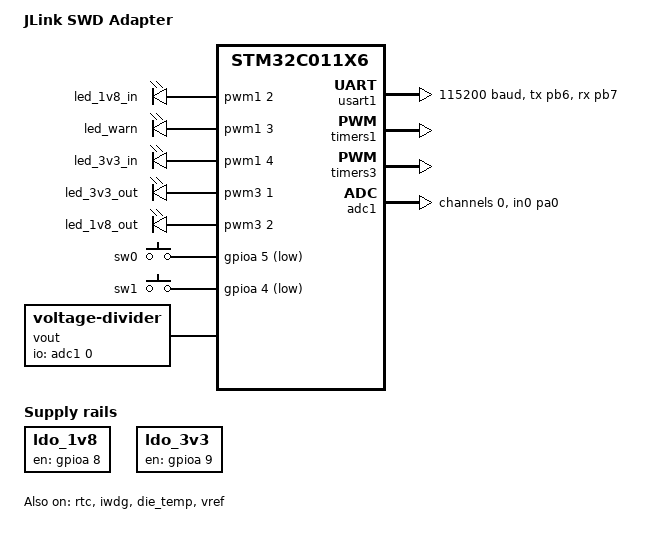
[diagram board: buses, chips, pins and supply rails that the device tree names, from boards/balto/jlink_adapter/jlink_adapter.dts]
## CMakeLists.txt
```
set(BOARD_ROOT ${CMAKE_CURRENT_LIST_DIR})
set(BOARD jlink_adapter)

cmake_minimum_required(VERSION 3.20.0)
find_package(Zephyr REQUIRED HINTS $ENV{ZEPHYR_BASE})
project(jlink_adapter)

target_sources(app PRIVATE
	src/main.c
	src/print_stack.c
)
```

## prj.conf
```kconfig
CONFIG_DEBUG_THREAD_INFO=y
CONFIG_INIT_STACKS=y
CONFIG_THREAD_STACK_INFO=y
CONFIG_THREAD_ANALYZER=y

CONFIG_GPIO=y
CONFIG_LOG=y
CONFIG_LOG_MODE_MINIMAL=y
CONFIG_PWM=y
CONFIG_INPUT=y
CONFIG_INPUT_EVENT_DUMP=n
CONFIG_INPUT_MODE_SYNCHRONOUS=y
CONFIG_LED=y
CONFIG_ADC=y
CONFIG_REGULATOR=y

CONFIG_SEGGER_RTT_BUFFER_SIZE_UP=512
CONFIG_ISR_STACK_SIZE=512
CONFIG_MAIN_STACK_SIZE=1024
CONFIG_IDLE_STACK_SIZE=128
```

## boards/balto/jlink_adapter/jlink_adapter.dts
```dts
/dts-v1/;
#include <st/c0/stm32c011X6.dtsi>
#include <st/c0/stm32c011f(4-6)ux-pinctrl.dtsi>
#include <zephyr/dt-bindings/input/input-event-codes.h>

/ {
	model = "JLink SWD Adapter";
	compatible = "balto,jlink-adapter";

	chosen {
		zephyr,console = &usart1;
		zephyr,shell-uart = &usart1;
		zephyr,sram = &sram0;
		zephyr,flash = &flash0;
	};

	leds: pwmleds {
		compatible = "pwm-leds";

		led_1v8_in: led_0 {
			pwms = <&pwm1 2 PWM_HZ(200) PWM_POLARITY_NORMAL>;
		};
		led_warn: led_1 {
			pwms = <&pwm1 3 PWM_HZ(200) PWM_POLARITY_NORMAL>;
		};
		led_3v3_in: led_2 {
			pwms = <&pwm1 4 PWM_HZ(200) PWM_POLARITY_NORMAL>;
		};
		led_3v3_out: led_3 {
			pwms = <&pwm3 1 PWM_HZ(200) PWM_POLARITY_NORMAL>;
		};
		led_1v8_out: led_4 {
			pwms = <&pwm3 2 PWM_HZ(200) PWM_POLARITY_NORMAL>;
		};
	};

	buttons: gpio_keys {
		compatible = "gpio-keys";
		sw0 {
			gpios = <&gpioa 5 (GPIO_PULL_UP | GPIO_ACTIVE_LOW)>;
			zephyr,code = <INPUT_KEY_0>;
		};
		sw1 {
			gpios = <&gpioa 4 (GPIO_PULL_UP | GPIO_ACTIVE_LOW)>;
			zephyr,code = <INPUT_KEY_1>;
		};
	};

	vout: vout {
		compatible = "voltage-divider";
		io-channels = <&adc1 0>;
		output-ohms = <(100 * 1000)>;
		full-ohms = <(100 * 1000 * 2)>;
	};

	ldo_1v8: ldo-1v8 {
		compatible = "regulator-fixed";
		regulator-name = "analog_en";
		enable-gpios = <&gpioa 8 GPIO_ACTIVE_HIGH>;
	};

	ldo_3v3: ldo-3v3 {
		compatible = "regulator-fixed";
		regulator-name = "analog_en";
		enable-gpios = <&gpioa 9 GPIO_ACTIVE_HIGH>;
	};
};

&clk_hsi {
	status = "okay";
};

&rcc {
	clocks = <&clk_hsi>;
	clock-frequency = <DT_FREQ_M(48)>;
	ahb-prescaler = <1>;
	apb1-prescaler = <1>;
};

&pinctrl {
	remap-pa11;
};

&usart1 {
	pinctrl-0 = <&usart1_tx_pb6 &usart1_rx_pb7>;
	pinctrl-names = "default";
	current-speed = <115200>;
	status = "okay";
};

&rtc {
	clocks = <&rcc STM32_CLOCK_BUS_APB1 0x00000400>,
		 <&rcc STM32_SRC_LSE RTC_SEL(1)>;
	status = "okay";
};

&iwdg {
	status = "okay";
};

&timers1 {
	st,prescaler = <10000>;
	status = "okay";

	pwm1: pwm {
		pinctrl-0 = <&tim1_ch2_pa1 &tim1_ch3_pa2 &tim1_ch4_pa3>;
		pinctrl-names = "default";
		status = "okay";
	};
};

&timers3 {
	st,prescaler = <10000>;
	status = "okay";

	pwm3: pwm {
		pinctrl-0 = <&tim3_ch1_pa6 &tim3_ch2_pa7>;
		pinctrl-names = "default";
		status = "okay";
	};
};

&adc1 {
	st,adc-clock-source = "SYNC";
	st,adc-prescaler = <2>;
	status = "okay";

	#address-cells = <1>;
	#size-cells = <0>;

	pinctrl-0 = <&adc1_in0_pa0>;
	pinctrl-names = "default";

	channel@0 {
		reg = <0x0>;
		zephyr,gain = "ADC_GAIN_1";
		zephyr,reference = "ADC_REF_INTERNAL";
		zephyr,acquisition-time = <ADC_ACQ_TIME_DEFAULT>;
		zephyr,resolution = <12>;
		zephyr,vref-mv = <3300>;
	};

};

&die_temp {
	status = "okay";
};

&vref {
	status = "okay";
};

&dma1 {
	status = "okay";
};

&dmamux1 {
	status = "okay";
};
```

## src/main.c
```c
#include <zephyr/drivers/adc.h>
#include <zephyr/drivers/gpio.h>
#include <zephyr/drivers/led.h>
#include <zephyr/drivers/regulator.h>
#include <zephyr/input/input.h>
#include <zephyr/kernel.h>
#include <zephyr/logging/log.h>
#include <zephyr/sys/util.h>

#define VOUT_NODE DT_NODELABEL(vout)
static const struct adc_dt_spec vout = ADC_DT_SPEC_GET(VOUT_NODE);

static const struct led_dt_spec led_warn = LED_DT_SPEC_GET(DT_NODELABEL(led_warn));
static const struct led_dt_spec led_1v8_in = LED_DT_SPEC_GET(DT_NODELABEL(led_1v8_in));
static const struct led_dt_spec led_3v3_in = LED_DT_SPEC_GET(DT_NODELABEL(led_3v3_in));
static const struct led_dt_spec led_1v8_out = LED_DT_SPEC_GET(DT_NODELABEL(led_1v8_out));
static const struct led_dt_spec led_3v3_out = LED_DT_SPEC_GET(DT_NODELABEL(led_3v3_out));

#define LED_GREEN_ON_LEVEL 20
#define LED_ON_LEVEL 60

LOG_MODULE_REGISTER(main, LOG_LEVEL_INF);

static uint32_t read_vout_mv(void)
{
	int16_t buf;
	struct adc_sequence sequence = {
		.buffer = &buf,
		.buffer_size = sizeof(buf),
	};
	int32_t vout_mv;
	int err;

	adc_sequence_init_dt(&vout, &sequence);

	err = adc_read(vout.dev, &sequence);
	if (err < 0) {
		LOG_ERR("adc_read failed: %d", err);
		return 0;
	}

	vout_mv = buf;
	adc_raw_to_millivolts_dt(&vout, &vout_mv);

	vout_mv = vout_mv *
		DT_PROP(VOUT_NODE, full_ohms) /
		DT_PROP(VOUT_NODE, output_ohms);

	LOG_DBG("vout_mv=%d", vout_mv);

	return vout_mv;
}

static struct {
	bool en_1v8;
	bool en_3v3;
	bool locked;
	bool blink;
	int64_t lock_blink_stop;
} status;

static const struct device *reg_1v8 = DEVICE_DT_GET(DT_NODELABEL(ldo_1v8));
static const struct device *reg_3v3 = DEVICE_DT_GET(DT_NODELABEL(ldo_3v3));

static void blink_input_cb(struct input_event *evt, void *user_data)
{
        if (!evt->sync) {
                return;
        }

	if (evt->value != 1) {
		return;
	}

	switch (evt->code) {
	case INPUT_KEY_0:
		LOG_INF("button 3v3");
		if (status.en_3v3) {
			led_set_brightness_dt(&led_3v3_out, 0);
			regulator_disable(reg_3v3);
			status.en_3v3 = false;
			return;
		}

		if (status.locked) {
			status.lock_blink_stop = k_uptime_get() + 1000;
			LOG_WRN("locked");
			return;
		}

		led_set_brightness_dt(&led_3v3_out, LED_ON_LEVEL);
		regulator_enable(reg_3v3);
		status.en_3v3 = true;
		return;
	case INPUT_KEY_1:
		LOG_INF("button 1v8");
		if (status.en_1v8) {
			led_set_brightness_dt(&led_1v8_out, 0);
			regulator_disable(reg_1v8);
			status.en_1v8 = false;
			return;
		}

		if (status.locked) {
			status.lock_blink_stop = k_uptime_get() + 1000;
			LOG_WRN("locked");
			return;
		}

		led_set_brightness_dt(&led_1v8_out, LED_ON_LEVEL);
		regulator_enable(reg_1v8);
		status.en_1v8 = true;
		return;
	default:
		LOG_INF("unknown code: %d", evt->code);
		return;
	}
}
INPUT_CALLBACK_DEFINE(DEVICE_DT_GET(DT_NODELABEL(buttons)), blink_input_cb, NULL);

int main(void)
{
	uint32_t vout_mv;
	uint8_t on_level;

	while (1) {
		vout_mv = read_vout_mv();

		if (vout_mv < 150) {
			led_set_brightness_dt(&led_warn, LED_ON_LEVEL);
			led_set_brightness_dt(&led_1v8_in, 0);
			led_set_brightness_dt(&led_3v3_in, 0);
			status.locked = false;
			goto out;
		}

		status.locked = true;

		if (k_uptime_get() > status.lock_blink_stop) {
			on_level = LED_GREEN_ON_LEVEL;
		} else {
			on_level = status.blink ? LED_GREEN_ON_LEVEL : 0;
		}

		if (IN_RANGE(vout_mv, 1700, 1900)) {
			led_set_brightness_dt(&led_warn, 0);
			led_set_brightness_dt(&led_1v8_in, on_level);
			led_set_brightness_dt(&led_3v3_in, 0);
		} else if (IN_RANGE(vout_mv, 3200, 3400)) {
			led_set_brightness_dt(&led_warn, 0);
			led_set_brightness_dt(&led_1v8_in, 0);
			led_set_brightness_dt(&led_3v3_in, on_level);
		} else {
			led_set_brightness_dt(&led_warn, status.blink ? LED_ON_LEVEL : 0);
			led_set_brightness_dt(&led_1v8_in, 0);
			led_set_brightness_dt(&led_3v3_in, 0);
		}
out:
		status.blink = !status.blink;

		k_msleep(100);
	}

	return 0;
}
```

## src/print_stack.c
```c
#include <zephyr/kernel.h>
#include <zephyr/logging/log.h>
#include <zephyr/debug/thread_analyzer.h>

LOG_MODULE_REGISTER(print_stack, LOG_LEVEL_INF);

#define PRINT_STACK_INTERVAL_S 5

static void print_stack_handler(struct k_work *work);

K_WORK_DELAYABLE_DEFINE(print_stack_dwork, print_stack_handler);

static void print_stack_handler(struct k_work *work)
{
	thread_analyzer_print(0);

	k_work_schedule(&print_stack_dwork, K_SECONDS(PRINT_STACK_INTERVAL_S));
}

static int print_stack_init(void)
{
        k_work_schedule(&print_stack_dwork, K_SECONDS(PRINT_STACK_INTERVAL_S));

	return 0;
}

SYS_INIT(print_stack_init, APPLICATION, 91);
```
